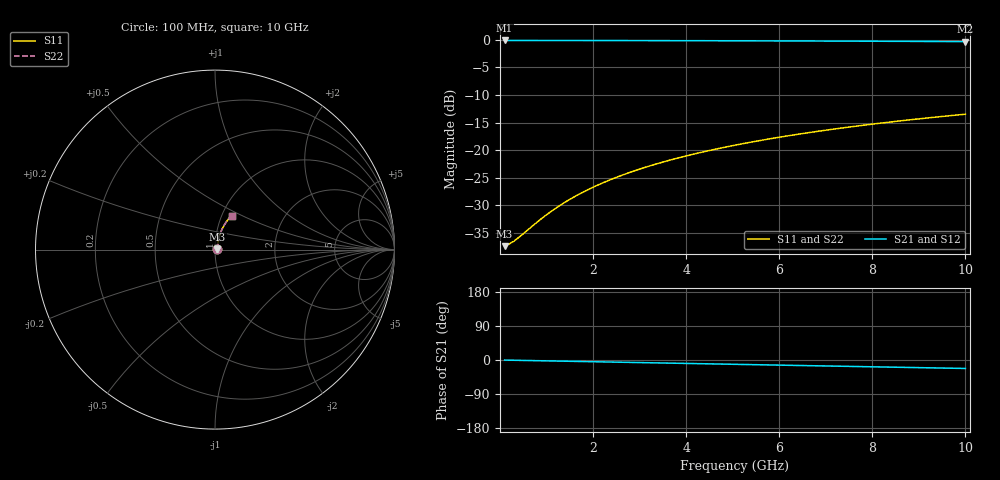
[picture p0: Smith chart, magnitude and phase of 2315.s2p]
# Hz S RI R 50.00
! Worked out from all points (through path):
!   100 points, 100 MHz to 10 GHz, reference 50 ohm
!   highest |S21| = -0.12 dB at 100 MHz (marker M1); lowest = -0.3 dB at 10 GHz (marker M2)
!   group delay of S21, straight-line fit = 6.21 ps
!   lowest |S11| = -37.4 dB at 100 MHz (marker M3), VSWR 1.03, Z = 51.3 + j0.221 ohm
!   |S11| at or under -10 dB: start of sweep to end of sweep
!   |S22| runs from -37.4 to -13.5 dB; largest |S21 - S12| = 0
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1e8  0.0133 0.00215  0.9867 -0.0039  0.9867 -0.0039  0.0133 0.00215
2e8  0.0134 0.0043  0.9866 -0.0078  0.9866 -0.0078  0.0134 0.0043
3e8  0.0135 0.00644  0.9865 -0.0117  0.9865 -0.0117  0.0135 0.00644
4e8  0.0136 0.00859  0.9864 -0.0156  0.9864 -0.0156  0.0136 0.00859
9e8  0.0143 0.0193  0.9855 -0.0351  0.9855 -0.0351  0.0143 0.0193
1.2e9  0.0149 0.0257  0.9848 -0.0468  0.9848 -0.0468  0.0149 0.0257
1.5e9  0.0157 0.0321  0.9839 -0.0584  0.9839 -0.0584  0.0157 0.0321
1.8e9  0.0166 0.0385  0.9829 -0.07  0.9829 -0.07  0.0166 0.0385
2.1e9  0.0176 0.0448  0.9817 -0.0817  0.9817 -0.0817  0.0176 0.0448
2.5e9  0.0192 0.0532  0.9797 -0.0971  0.9797 -0.0971  0.0192 0.0532
2.9e9  0.0211 0.0615  0.9775 -0.1124  0.9775 -0.1124  0.0211 0.0615
3.4e9  0.0238 0.0719  0.9743 -0.1315  0.9743 -0.1315  0.0238 0.0719
3.8e9  0.0263 0.08  0.9714 -0.1467  0.9714 -0.1467  0.0263 0.08
4.2e9  0.029 0.0881  0.9682 -0.1618  0.9682 -0.1618  0.029 0.0881
4.6e9  0.0319 0.0961  0.9647 -0.1768  0.9647 -0.1768  0.0319 0.0961
5.1e9  0.0359 0.1059  0.96 -0.1954  0.96 -0.1954  0.0359 0.1059
5.9e9  0.0431 0.1212  0.9514 -0.2248  0.9514 -0.2248  0.0431 0.1212
6.7e9  0.0512 0.136  0.9417 -0.2537  0.9417 -0.2537  0.0512 0.136
7.5e9  0.0602 0.1501  0.9309 -0.2819  0.9309 -0.2819  0.0602 0.1501
8.4e9  0.0712 0.1653  0.9176 -0.3129  0.9176 -0.3129  0.0712 0.1653
9.2e9  0.0818 0.178  0.9048 -0.3397  0.9048 -0.3397  0.0818 0.178
1e10  0.0931 0.1899  0.8911 -0.3658  0.8911 -0.3658  0.0931 0.1899
